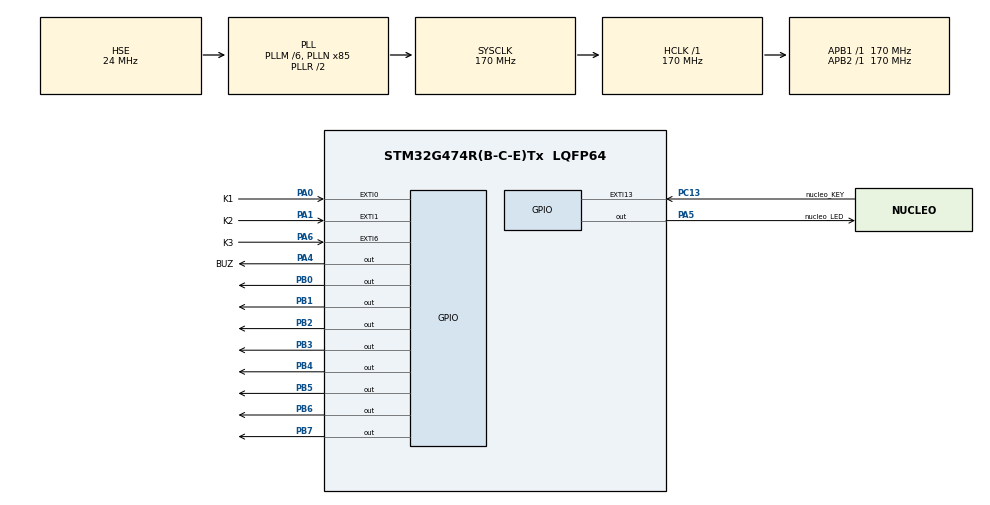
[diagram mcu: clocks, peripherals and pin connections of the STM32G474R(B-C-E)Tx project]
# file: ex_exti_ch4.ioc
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Mcu.Family=STM32G4
RCC.CortexFreq_Value=170000000
PB2.GPIO_Speed=GPIO_SPEED_FREQ_HIGH
PA0.GPIO_Label=K1
PA6.GPIO_Label=K3
PC13.GPIO_Label=nucleo_KEY
PA5.PinState=GPIO_PIN_SET
PB3.GPIO_Speed=GPIO_SPEED_FREQ_HIGH
RCC.SYSCLKSource=RCC_SYSCLKSOURCE_PLLCLK
ProjectManager.StackSize=0x400
NVIC.EXTI1_IRQn=true\:3\:0\:true\:false\:true\:true\:true
PB0.PinState=GPIO_PIN_SET
PB3.PinState=GPIO_PIN_SET
PB1.GPIO_PuPd=GPIO_PULLUP
RCC.HCLKFreq_Value=170000000
RCC.APB2TimFreq_Value=170000000
PB6.Signal=GPIO_Output
PB5.PinState=GPIO_PIN_SET
PA1.GPIO_PuPd=GPIO_PULLUP
RCC.AHBFreq_Value=170000000
NVIC.EXTI15_10_IRQn=true\:1\:0\:true\:false\:true\:true\:true
RCC.HSE_VALUE=24000000
PA4.GPIO_PuPd=GPIO_PULLUP
PB2.Signal=GPIO_Output
RCC.ADC12Freq_Value=170000000
PA4.GPIO_Speed=GPIO_SPEED_FREQ_HIGH
PA6.GPIO_PuPd=GPIO_PULLUP
PB3.GPIO_PuPd=GPIO_PULLUP
PB1.GPIO_Speed=GPIO_SPEED_FREQ_HIGH
PA14.Mode=Serial_Wire
PA5.GPIO_PuPd=GPIO_PULLUP
PC13.GPIO_PuPd=GPIO_PULLDOWN
VP_SYS_VS_DBSignals.Mode=DisableDeadBatterySignals
PB7.Signal=GPIO_Output
PB2.GPIO_PuPd=GPIO_PULLUP
PA0.Signal=GPXTI0
PB7.PinState=GPIO_PIN_SET
PB1.PinState=GPIO_PIN_SET
Mcu.Package=LQFP64
PA6.Signal=GPXTI6
PB1.Signal=GPIO_Output
PA0.GPIO_PuPd=GPIO_PULLUP
PB6.GPIO_ModeDefaultOutputPP=GPIO_MODE_OUTPUT_PP
PA4.GPIO_ModeDefaultOutputPP=GPIO_MODE_OUTPUT_PP
PB5.GPIO_Speed=GPIO_SPEED_FREQ_HIGH
RCC.APB1TimFreq_Value=170000000
PB0.GPIO_ModeDefaultOutputPP=GPIO_MODE_OUTPUT_PP
PF1-OSC_OUT.Mode=HSE-External-Oscillator
PB2.GPIO_ModeDefaultOutputPP=GPIO_MODE_OUTPUT_PP
PB4.PinState=GPIO_PIN_SET
PA4.GPIO_Label=BUZ
PA1.GPIO_ModeDefaultEXTI=GPIO_MODE_IT_RISING
PF1-OSC_OUT.Signal=RCC_OSC_OUT
RCC.HSI48_VALUE=48000000
PB4.Signal=GPIO_Output
PB4.GPIO_ModeDefaultOutputPP=GPIO_MODE_OUTPUT_PP
PB7.GPIO_Speed=GPIO_SPEED_FREQ_HIGH
PB7.GPIO_PuPd=GPIO_PULLUP
RCC.PLLSourceVirtual=RCC_PLLSOURCE_HSE
PB5.GPIO_ModeDefaultOutputPP=GPIO_MODE_OUTPUT_PP
PA6.GPIO_ModeDefaultEXTI=GPIO_MODE_IT_RISING
PC13.Signal=GPXTI13
PB6.GPIO_PuPd=GPIO_PULLUP
RCC.EXTERNAL_CLOCK_VALUE=12288000
PB0.GPIO_Speed=GPIO_SPEED_FREQ_HIGH
PA13.Signal=SYS_JTMS-SWDIO
PA4.PinState=GPIO_PIN_SET
ProjectManager.TargetToolchain=STM32CubeIDE
PB4.GPIO_PuPd=GPIO_PULLUP
RCC.USBFreq_Value=170000000
RCC.LSE_VALUE=32768
PA1.Signal=GPXTI1
PF0-OSC_IN.Mode=HSE-External-Oscillator
PA5.Signal=GPIO_Output
board=custom
RCC.VCOOutputFreq_Value=340000000
RCC.ADC345Freq_Value=170000000
PB4.GPIO_Speed=GPIO_SPEED_FREQ_HIGH
RCC.APB2Freq_Value=170000000
PA5.GPIO_ModeDefaultOutputPP=GPIO_MODE_OUTPUT_PP
PB7.GPIO_ModeDefaultOutputPP=GPIO_MODE_OUTPUT_PP
PA0.GPIO_ModeDefaultEXTI=GPIO_MODE_IT_RISING
PA1.GPIO_Label=K2
PA13.Mode=Serial_Wire
Mcu.Name=STM32G474R(B-C-E)Tx
PB2.PinState=GPIO_PIN_SET
PB3.Signal=GPIO_Output
NVIC.EXTI0_IRQn=true\:4\:0\:true\:false\:true\:true\:true
PA4.Signal=GPIO_Output
RCC.SYSCLKFreq_VALUE=170000000
PB5.Signal=GPIO_Output
PA5.GPIO_Label=nucleo_LED
PC13.GPIO_ModeDefaultEXTI=GPIO_MODE_IT_RISING
PB5.GPIO_PuPd=GPIO_PULLUP
PB6.PinState=GPIO_PIN_SET
NVIC.EXTI9_5_IRQn=true\:2\:0\:true\:false\:true\:true\:true
PA14.Signal=SYS_JTCK-SWCLK
ProjectManager.HeapSize=0x200
RCC.HSI_VALUE=16000000
PA5.GPIO_Speed=GPIO_SPEED_FREQ_HIGH
NVIC.PriorityGroup=NVIC_PRIORITYGROUP_4
RCC.PLLM=RCC_PLLM_DIV6
RCC.PLLN=85
PF0-OSC_IN.Signal=RCC_OSC_IN
PB1.GPIO_ModeDefaultOutputPP=GPIO_MODE_OUTPUT_PP
PB6.GPIO_Speed=GPIO_SPEED_FREQ_HIGH
RCC.APB1Freq_Value=170000000
PB0.Signal=GPIO_Output
PB0.GPIO_PuPd=GPIO_PULLUP
PB3.GPIO_ModeDefaultOutputPP=GPIO_MODE_OUTPUT_PP

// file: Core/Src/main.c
/* USER CODE BEGIN Header */
/**
  ******************************************************************************
  * @file           : main.c
  * @brief          : Main program body
  ******************************************************************************
  * @attention
  *
  * <h2><center>&copy; Copyright (c) 2022 STMicroelectronics.
  * All rights reserved.</center></h2>
  *
  * This software component is licensed by ST under BSD 3-Clause license,
  * the "License"; You may not use this file except in compliance with the
  * License. You may obtain a copy of the License at:
  *                        opensource.org/licenses/BSD-3-Clause
  *
  ******************************************************************************
  */
/* USER CODE END Header */
#include "main.h"

/* USER CODE BEGIN PV */
	// 4.1 - 4.2
//	uint8_t mode = 0;

	// 4.5
	uint16_t num[3] = {0, 0, 0};
	uint32_t real_num = 0;
/* USER CODE END PV */

void SystemClock_Config(void);
static void MX_GPIO_Init(void);

int main(void)
{
  /* USER CODE BEGIN 1 */
	// 3.2
//	uint32_t delay_array[3] = {2000, 500, 250};

  /* USER CODE END 1 */

  /* MCU Configuration--------------------------------------------------------*/

  /* Reset of all peripherals, Initializes the Flash interface and the Systick. */
  HAL_Init();

  /* Configure the system clock */
  SystemClock_Config();

  /* Initialize all configured peripherals */
  MX_GPIO_Init();

  /* Infinite loop */
  while (1)
  {

    /* USER CODE BEGIN 3 */

	// 4.1
//	if(mode == 1){
//	//	HAL_GPIO_WritePin(BUZ_GPIO_Port, BUZ_Pin, GPIO_PIN_RESET);
//		HAL_GPIO_TogglePin(BUZ_GPIO_Port, BUZ_Pin);
//		HAL_Delay(500);
//	}
//	else{
//		HAL_GPIO_WritePin(BUZ_GPIO_Port, BUZ_Pin, GPIO_PIN_SET);
//	}

	// 4.2
//	 if(mode == 1){
//	  	HAL_GPIO_TogglePin(LED_GPIO_Port, LED_Pin);
//	  	HAL_Delay(2000);
//	  }
//	  else if(mode == 2){
//		  	HAL_GPIO_TogglePin(LED_GPIO_Port, LED_Pin);
//		  	HAL_Delay(500);
//	  }
//	  else if(mode == 0){
//		  	HAL_GPIO_TogglePin(LED_GPIO_Port, LED_Pin);
//		  	HAL_Delay(250);
//	  }

	  // 4.5
//	  show_num(0, 0, 0);
	  real_num = num[0] + num[1] * 10 + num[2] * 100;
	  HAL_GPIO_WritePin(GPIOB, 0xff, GPIO_PIN_SET);
	  HAL_GPIO_WritePin(GPIOB, (uint8_t)real_num, GPIO_PIN_RESET);
	  HAL_Delay(50);
  }
  /* USER CODE END 3 */
}

void SystemClock_Config(void)
{
  RCC_OscInitTypeDef RCC_OscInitStruct = {0};
  RCC_ClkInitTypeDef RCC_ClkInitStruct = {0};

  /** Configure the main internal regulator output voltage
  */
  HAL_PWREx_ControlVoltageScaling(PWR_REGULATOR_VOLTAGE_SCALE1_BOOST);
  /** Initializes the RCC Oscillators according to the specified parameters
  * in the RCC_OscInitTypeDef structure.
  */
  RCC_OscInitStruct.OscillatorType = RCC_OSCILLATORTYPE_HSE;
  RCC_OscInitStruct.HSEState = RCC_HSE_ON;
  RCC_OscInitStruct.PLL.PLLState = RCC_PLL_ON;
  RCC_OscInitStruct.PLL.PLLSource = RCC_PLLSOURCE_HSE;
  RCC_OscInitStruct.PLL.PLLM = RCC_PLLM_DIV6;
  RCC_OscInitStruct.PLL.PLLN = 85;
  RCC_OscInitStruct.PLL.PLLP = RCC_PLLP_DIV2;
  RCC_OscInitStruct.PLL.PLLQ = RCC_PLLQ_DIV2;
  RCC_OscInitStruct.PLL.PLLR = RCC_PLLR_DIV2;
  if (HAL_RCC_OscConfig(&RCC_OscInitStruct) != HAL_OK)
  {
    Error_Handler();
  }
  /** Initializes the CPU, AHB and APB buses clocks
  */
  RCC_ClkInitStruct.ClockType = RCC_CLOCKTYPE_HCLK|RCC_CLOCKTYPE_SYSCLK
                              |RCC_CLOCKTYPE_PCLK1|RCC_CLOCKTYPE_PCLK2;
  RCC_ClkInitStruct.SYSCLKSource = RCC_SYSCLKSOURCE_PLLCLK;
  RCC_ClkInitStruct.AHBCLKDivider = RCC_SYSCLK_DIV1;
  RCC_ClkInitStruct.APB1CLKDivider = RCC_HCLK_DIV1;
  RCC_ClkInitStruct.APB2CLKDivider = RCC_HCLK_DIV1;

  if (HAL_RCC_ClockConfig(&RCC_ClkInitStruct, FLASH_LATENCY_4) != HAL_OK)
  {
    Error_Handler();
  }
}

static void MX_GPIO_Init(void)
{
  GPIO_InitTypeDef GPIO_InitStruct = {0};

  /* GPIO Ports Clock Enable */
  __HAL_RCC_GPIOC_CLK_ENABLE();
  __HAL_RCC_GPIOF_CLK_ENABLE();
  __HAL_RCC_GPIOA_CLK_ENABLE();
  __HAL_RCC_GPIOB_CLK_ENABLE();

  /*Configure GPIO pin Output Level */
  HAL_GPIO_WritePin(GPIOA, BUZ_Pin|nucleo_LED_Pin, GPIO_PIN_SET);

  /*Configure GPIO pin Output Level */
  HAL_GPIO_WritePin(GPIOB, GPIO_PIN_0|GPIO_PIN_1|GPIO_PIN_2|GPIO_PIN_3
                          |GPIO_PIN_4|GPIO_PIN_5|GPIO_PIN_6|GPIO_PIN_7, GPIO_PIN_SET);

  /*Configure GPIO pin : nucleo_KEY_Pin */
  GPIO_InitStruct.Pin = nucleo_KEY_Pin;
  GPIO_InitStruct.Mode = GPIO_MODE_IT_RISING;
  GPIO_InitStruct.Pull = GPIO_PULLDOWN;
  HAL_GPIO_Init(nucleo_KEY_GPIO_Port, &GPIO_InitStruct);

  /*Configure GPIO pins : K1_Pin K2_Pin K3_Pin */
  GPIO_InitStruct.Pin = K1_Pin|K2_Pin|K3_Pin;
  GPIO_InitStruct.Mode = GPIO_MODE_IT_RISING;
  GPIO_InitStruct.Pull = GPIO_PULLUP;
  HAL_GPIO_Init(GPIOA, &GPIO_InitStruct);

  /*Configure GPIO pins : BUZ_Pin nucleo_LED_Pin */
  GPIO_InitStruct.Pin = BUZ_Pin|nucleo_LED_Pin;
  GPIO_InitStruct.Mode = GPIO_MODE_OUTPUT_PP;
  GPIO_InitStruct.Pull = GPIO_PULLUP;
  GPIO_InitStruct.Speed = GPIO_SPEED_FREQ_HIGH;
  HAL_GPIO_Init(GPIOA, &GPIO_InitStruct);

  /*Configure GPIO pins : PB0 PB1 PB2 PB3
                           PB4 PB5 PB6 PB7 */
  GPIO_InitStruct.Pin = GPIO_PIN_0|GPIO_PIN_1|GPIO_PIN_2|GPIO_PIN_3
                          |GPIO_PIN_4|GPIO_PIN_5|GPIO_PIN_6|GPIO_PIN_7;
  GPIO_InitStruct.Mode = GPIO_MODE_OUTPUT_PP;
  GPIO_InitStruct.Pull = GPIO_PULLUP;
  GPIO_InitStruct.Speed = GPIO_SPEED_FREQ_HIGH;
  HAL_GPIO_Init(GPIOB, &GPIO_InitStruct);

  /* EXTI interrupt init*/
  HAL_NVIC_SetPriority(EXTI0_IRQn, 4, 0);
  HAL_NVIC_EnableIRQ(EXTI0_IRQn);

  HAL_NVIC_SetPriority(EXTI1_IRQn, 3, 0);
  HAL_NVIC_EnableIRQ(EXTI1_IRQn);

  HAL_NVIC_SetPriority(EXTI9_5_IRQn, 2, 0);
  HAL_NVIC_EnableIRQ(EXTI9_5_IRQn);

  HAL_NVIC_SetPriority(EXTI15_10_IRQn, 1, 0);
  HAL_NVIC_EnableIRQ(EXTI15_10_IRQn);

}

/* USER CODE BEGIN 4 */
void HAL_GPIO_EXTI_Callback(uint16_t GPIO_Pin)
{
	HAL_Delay(10);
	// 4.1 rising/falling
//	if (GPIO_Pin == KEY_Pin)
//	{
//		//	HAL_GPIO_WritePin(BUZ_GPIO_Port, BUZ_Pin, GPIO_PIN_RESET);
//		mode = (mode + 1) % 2;
//		//HAL_GPIO_TogglePin(LED_GPIO_Port, LED_Pin);
//	}
	// 4.2 rising
//		if (GPIO_Pin == KEY_Pin)
//		{
//			mode = (mode + 1) % 3;
//		}

	// 4.3 b1:buzz, k1:ld2, k2: L1-4, k3: L5-8
//	switch(GPIO_Pin){
//	case nucleo_KEY_Pin:{
//		HAL_GPIO_WritePin(BUZ_GPIO_Port, BUZ_Pin, GPIO_PIN_RESET);
//		HAL_Delay(1000);
//		HAL_GPIO_WritePin(BUZ_GPIO_Port, BUZ_Pin, GPIO_PIN_SET);
//		break;
//	}
//	case K1_Pin:{
//		HAL_GPIO_TogglePin(nucleo_LED_GPIO_Port, nucleo_LED_Pin);
//		break;
//	}
//	case K2_Pin:{
//		HAL_GPIO_TogglePin(GPIOB, 0x0f);
//		break;
//	}
//	case K3_Pin:{
//		HAL_GPIO_TogglePin(GPIOB, 0xf0);
//		break;
//	}

	// 4.5 k1 k2 k3 百位
	switch(GPIO_Pin){
	case nucleo_KEY_Pin:{
		for (int i = 0; i < 3; ++i){
			num[i] = 0;
		}
		HAL_Delay(500);
		break;
	}
	case K1_Pin:{
		num[0] = (num[0] + 1) % 10;
		HAL_Delay(500);
		break;
	}
	case K2_Pin:{
		num[1] = (num[1] + 1) % 10;
		HAL_Delay(500);
		break;
	}
	case K3_Pin:{
		num[2] = (num[2] + 1) % 10;
		HAL_Delay(500);
		break;
	}

	}
}
/* USER CODE END 4 */

void Error_Handler(void)
{
  __disable_irq();
  while (1)
  {
  }
}

/************************ (C) COPYRIGHT STMicroelectronics *****END OF FILE****/
